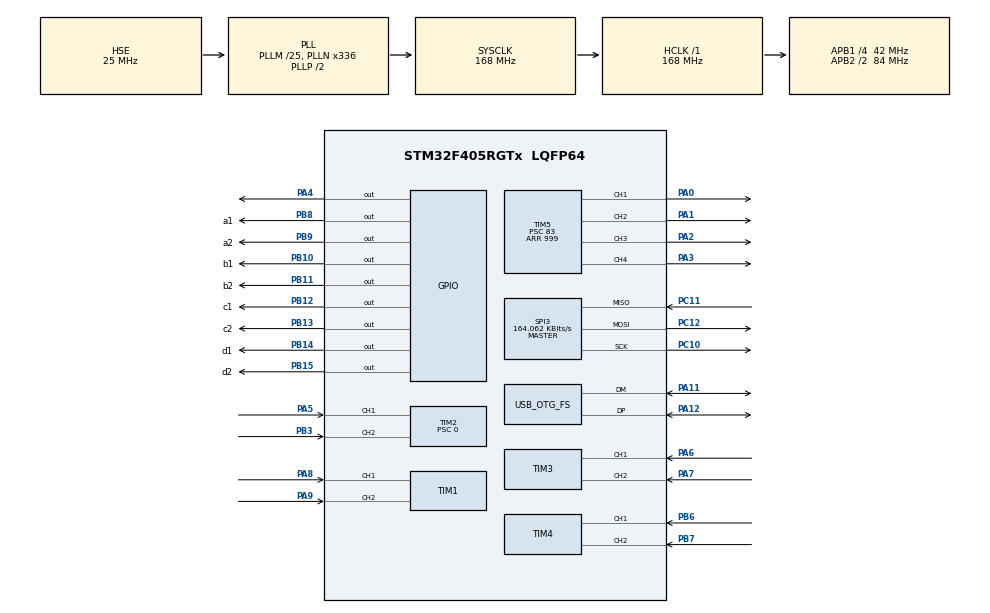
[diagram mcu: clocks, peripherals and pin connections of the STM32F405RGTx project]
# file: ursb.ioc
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FREERTOS.Tasks01=defaultTask,0,128,StartDefaultTask,Default,NULL,Dynamic,NULL,NULL;control,0,128,Task_Control,As weak,NULL,Dynamic,NULL,NULL;pid,0,128,Task_Ser,As weak,NULL,Dynamic,NULL,NULL;ps2,0,128,PS2,As weak,NULL,Dynamic,NULL,NULL;location,0,128,Task_Location,As weak,NULL,Dynamic,NULL,NULL
Mcu.Family=STM32F4
Mcu.Name=STM32F405RGTx
Mcu.Package=LQFP64
NVIC.OTG_FS_IRQn=true\:5\:0\:false\:false\:true\:true\:false\:true\:true
NVIC.PriorityGroup=NVIC_PRIORITYGROUP_4
NVIC.TIM2_IRQn=true\:5\:0\:false\:false\:true\:true\:true\:true\:true
NVIC.TIM6_DAC_IRQn=true\:15\:0\:false\:false\:true\:false\:false\:true\:true
NVIC.TimeBase=TIM6_DAC_IRQn
NVIC.TimeBaseIP=TIM6
PA0-WKUP.Signal=S_TIM5_CH1
PA1.Signal=S_TIM5_CH2
PA11.Mode=Device_Only
PA11.Signal=USB_OTG_FS_DM
PA12.Mode=Device_Only
PA12.Signal=USB_OTG_FS_DP
PA13.Mode=Serial_Wire
PA13.Signal=SYS_JTMS-SWDIO
PA14.Mode=Serial_Wire
PA14.Signal=SYS_JTCK-SWCLK
PA2.Signal=S_TIM5_CH3
PA3.Signal=S_TIM5_CH4
PA4.Signal=GPIO_Output
PA5.Signal=S_TIM2_CH1_ETR
PA6.Signal=S_TIM3_CH1
PA7.Signal=S_TIM3_CH2
PA8.Signal=S_TIM1_CH1
PA9.Signal=S_TIM1_CH2
PB10.GPIO_Label=b1
PB10.Signal=GPIO_Output
PB11.GPIO_Label=b2
PB11.Signal=GPIO_Output
PB12.GPIO_Label=c1
PB12.Signal=GPIO_Output
PB13.GPIO_Label=c2
PB13.Signal=GPIO_Output
PB14.GPIO_Label=d1
PB14.Signal=GPIO_Output
PB15.GPIO_Label=d2
PB15.Signal=GPIO_Output
PB3.Signal=S_TIM2_CH2
PB6.Signal=S_TIM4_CH1
PB7.Signal=S_TIM4_CH2
PB8.GPIO_Label=a1
PB8.Signal=GPIO_Output
PB9.GPIO_Label=a2
PB9.Signal=GPIO_Output
PC10.Mode=Full_Duplex_Master
PC10.Signal=SPI3_SCK
PC11.Mode=Full_Duplex_Master
PC11.Signal=SPI3_MISO
PC12.Mode=Full_Duplex_Master
PC12.Signal=SPI3_MOSI
PH0-OSC_IN.Mode=HSE-External-Oscillator
PH0-OSC_IN.Signal=RCC_OSC_IN
PH1-OSC_OUT.Mode=HSE-External-Oscillator
PH1-OSC_OUT.Signal=RCC_OSC_OUT
ProjectManager.HeapSize=0x200
ProjectManager.StackSize=0x400
ProjectManager.TargetToolchain=MDK-ARM V5.32
RCC.48MHZClocksFreq_Value=48000000
RCC.AHBFreq_Value=168000000
RCC.APB1CLKDivider=RCC_HCLK_DIV4
RCC.APB1Freq_Value=42000000
RCC.APB1TimFreq_Value=84000000
RCC.APB2CLKDivider=RCC_HCLK_DIV2
RCC.APB2Freq_Value=84000000
RCC.APB2TimFreq_Value=168000000
RCC.CortexFreq_Value=168000000
RCC.HCLKFreq_Value=168000000
RCC.HSE_VALUE=25000000
RCC.HSI_VALUE=16000000
RCC.LSE_VALUE=32768
RCC.PLLM=25
RCC.PLLN=336
RCC.PLLQ=7
RCC.SYSCLKFreq_VALUE=168000000
RCC.SYSCLKSource=RCC_SYSCLKSOURCE_PLLCLK
RCC.VCOOutputFreq_Value=336000000
SH.S_TIM1_CH1.0=TIM1_CH1,Encoder_Interface
SH.S_TIM1_CH2.0=TIM1_CH2,Encoder_Interface
SH.S_TIM2_CH1_ETR.0=TIM2_CH1,Encoder_Interface
SH.S_TIM2_CH2.0=TIM2_CH2,Encoder_Interface
SH.S_TIM3_CH1.0=TIM3_CH1,Encoder_Interface
SH.S_TIM3_CH2.0=TIM3_CH2,Encoder_Interface
SH.S_TIM4_CH1.0=TIM4_CH1,Encoder_Interface
SH.S_TIM4_CH2.0=TIM4_CH2,Encoder_Interface
SH.S_TIM5_CH1.0=TIM5_CH1,PWM Generation1 CH1
SH.S_TIM5_CH2.0=TIM5_CH2,PWM Generation2 CH2
SH.S_TIM5_CH3.0=TIM5_CH3,PWM Generation3 CH3
SH.S_TIM5_CH4.0=TIM5_CH4,PWM Generation4 CH4
SPI3.BaudRatePrescaler=SPI_BAUDRATEPRESCALER_256
SPI3.CLKPhase=SPI_PHASE_2EDGE
SPI3.CLKPolarity=SPI_POLARITY_HIGH
SPI3.CalculateBaudRate=164.062 KBits/s
SPI3.Direction=SPI_DIRECTION_2LINES
SPI3.FirstBit=SPI_FIRSTBIT_LSB
SPI3.Mode=SPI_MODE_MASTER
SPI3.VirtualType=VM_MASTER
TIM1.EncoderMode=TIM_ENCODERMODE_TI12
TIM2.EncoderMode=TIM_ENCODERMODE_TI12
TIM2.Period=65535
TIM2.Prescaler=0
TIM3.EncoderMode=TIM_ENCODERMODE_TI12
TIM4.EncoderMode=TIM_ENCODERMODE_TI12
TIM5.Channel-PWM\ Generation1\ CH1=TIM_CHANNEL_1
TIM5.Channel-PWM\ Generation2\ CH2=TIM_CHANNEL_2
TIM5.Channel-PWM\ Generation3\ CH3=TIM_CHANNEL_3
TIM5.Channel-PWM\ Generation4\ CH4=TIM_CHANNEL_4
TIM5.Period=999
TIM5.Prescaler=83
USB_DEVICE.CLASS_NAME_FS=CDC
USB_DEVICE.VirtualMode-CDC_FS=Cdc
USB_DEVICE.VirtualModeFS=Cdc_FS
USB_OTG_FS.VirtualMode=Device_Only
VP_FREERTOS_VS_CMSIS_V1.Mode=CMSIS_V1
VP_SYS_VS_tim6.Mode=TIM6
VP_TIM5_VS_ClockSourceINT.Mode=Internal
VP_USB_DEVICE_VS_USB_DEVICE_CDC_FS.Mode=CDC_FS
board=custom

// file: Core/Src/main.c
/* USER CODE BEGIN Header */
/**
  ******************************************************************************
  * @file           : main.c
  * @brief          : Main program body
  ******************************************************************************
  * @attention
  *
  * Copyright (c) 2026 STMicroelectronics.
  * All rights reserved.
  *
  * This software is licensed under terms that can be found in the LICENSE file
  * in the root directory of this software component.
  * If no LICENSE file comes with this software, it is provided AS-IS.
  *
  ******************************************************************************
  */

/* USER CODE END Header */
#include "main.h"
#include "cmsis_os.h"
#include "usb_device.h"

/* USER CODE BEGIN Includes */
#include "vofa_justfloat.h"
#include "pidmove.h"
#include "ps2.h"
/* USER CODE END Includes */

/* USER CODE BEGIN PTD */
/* 编码器每圈计数值 */
#define ENCODER_CPR

/* 编码器读数&速度环周期 */
#define SAMPLE_TIME        0.010f

#define PIE      3.14f
/* USER CODE END PTD */

/* USER CODE BEGIN PD */

// 编码器相关的全局变量，下标 0~3 对应四个轮子
uint16_t g_last_cnt[4] = {0};               // 上一次读到的编码器计数，用来和本次做差
volatile int16_t g_delta_cnt[4] = {0};      // 10ms 内的计数增量
volatile float g_speed_rpm[4] = {0.0f};     // 轮子实际转速，rpm

uint16_t g_now_cnt[4]={0};                  // 本次读到的编码器计数
uint16_t g_pwm[4]={0};                      // 最终 PWM 比较值
float g_delta_rev[4];                       // 计数增量换算轮子转数

float kp1=2.6f,ki1=0.8f,kd1=0.0f;   // 速度环
float kp2=2.6f,ki2=0.8f,kd2=0.0f;
float kp3=2.6f,ki3=0.8f,kd3=0.0f;
float kp4=2.6f,ki4=0.8f,kd4=0.0f;
float kp5=6.9f,ki5=0.0f,kd5=0.0f;   // 位置环
float kp6=6.9f,ki6=0.0f,kd6=0.0f;

float setx,sety;
float setrpm;
pid_type_def location[2],speed[4];
float g_angle[4];                   // 转角
float send[2]={0};
float g_setspeed[4]={0};            // 目标转速

float vx, vy, vw, k=16.75;

//unsigned char buf[9]={0};

/* USER CODE END PD */

SPI_HandleTypeDef hspi3;

TIM_HandleTypeDef htim1;
TIM_HandleTypeDef htim2;
TIM_HandleTypeDef htim3;
TIM_HandleTypeDef htim4;
TIM_HandleTypeDef htim5;

osThreadId defaultTaskHandle;
osThreadId controlHandle;
osThreadId pidHandle;
osThreadId ps2Handle;
osThreadId locationHandle;

void SystemClock_Config(void);
static void MX_GPIO_Init(void);
static void MX_TIM1_Init(void);
static void MX_TIM2_Init(void);
static void MX_TIM3_Init(void);
static void MX_TIM4_Init(void);
static void MX_TIM5_Init(void);
static void MX_SPI3_Init(void);
void StartDefaultTask(void const * argument);
void Task_Control(void const * argument);
void Task_Ser(void const * argument);
void PS2(void const * argument);
void Task_Location(void const * argument);

/* USER CODE BEGIN PFP */
void Encoder_Init(void)     // 编码器初始化
{
		HAL_TIM_Encoder_Start(&htim1,TIM_CHANNEL_ALL);
		HAL_TIM_Encoder_Start(&htim2,TIM_CHANNEL_ALL);
		HAL_TIM_Encoder_Start(&htim3,TIM_CHANNEL_ALL);
		HAL_TIM_Encoder_Start(&htim4,TIM_CHANNEL_ALL);

    g_last_cnt[0] = (uint16_t)__HAL_TIM_GET_COUNTER(&htim1);
    g_delta_cnt[0] = 0;
    g_speed_rpm[0] = 0.0f;

		g_last_cnt[1] = (uint16_t)__HAL_TIM_GET_COUNTER(&htim2);
    g_delta_cnt[1] = 0;
    g_speed_rpm[1] = 0.0f;

		g_last_cnt[2] = (uint16_t)__HAL_TIM_GET_COUNTER(&htim3);
    g_delta_cnt[2] = 0;
    g_speed_rpm[2] = 0.0f;

		g_last_cnt[3] = (uint16_t)__HAL_TIM_GET_COUNTER(&htim4);
    g_delta_cnt[3] = 0;
    g_speed_rpm[3] = 0.0f;

}

/* USER CODE END PFP */

int main(void)
{

  /* USER CODE BEGIN 1 */

	float speedelement1[3]={kp1,ki1,kd1};
	float speedelement2[3]={kp2,ki2,kd2};
	float speedelement3[3]={kp3,ki3,kd3};
	float speedelement4[3]={kp4,ki4,kd4};
	float locationelement[3]={kp5,ki5,kd5};
	float locationelement1[3]={kp6,ki6,kd6};
  /* USER CODE END 1 */

  /* MCU Configuration--------------------------------------------------------*/

  /* Reset of all peripherals, Initializes the Flash interface and the Systick. */
  HAL_Init();

  /* Configure the system clock */
  SystemClock_Config();

  /* Initialize all configured peripherals */
  MX_GPIO_Init();
  MX_TIM1_Init();
  MX_TIM2_Init();
  MX_TIM3_Init();
  MX_TIM4_Init();
  MX_TIM5_Init();
  MX_SPI3_Init();
  /* USER CODE BEGIN 2 */
	Encoder_Init();                    // 启动 TIM1~TIM4 编码器
	PS2_Init();                        // PS2 手柄初始化（SPI3）

	/* 启动电机 PWM */
	HAL_TIM_PWM_Start(&htim5,TIM_CHANNEL_1);
	HAL_TIM_PWM_Start(&htim5,TIM_CHANNEL_2);
	HAL_TIM_PWM_Start(&htim5,TIM_CHANNEL_3);
	HAL_TIM_PWM_Start(&htim5,TIM_CHANNEL_4);//PWM start

	/* PID 初始化 */
	PID_init_move(&speed[0],PID_POSITION,speedelement1,1000,500);
	PID_init_move(&speed[1],PID_POSITION,speedelement2,1000,500);
	PID_init_move(&speed[2],PID_POSITION,speedelement3,1000,500);
	PID_init_move(&speed[3],PID_POSITION,speedelement4,1000,500);
	PID_init_move(&location[0],PID_POSITION,locationelement,10,0);
	PID_init_move(&location[1],PID_POSITION,locationelement,10,0);

  /* USER CODE END 2 */

  /* Create the thread(s) */
  /* definition and creation of defaultTask */
  osThreadDef(defaultTask, StartDefaultTask, osPriorityNormal, 0, 128);
  defaultTaskHandle = osThreadCreate(osThread(defaultTask), NULL);

  /* definition and creation of control */
  osThreadDef(control, Task_Control, osPriorityNormal, 0, 128);
  controlHandle = osThreadCreate(osThread(control), NULL);

  /* definition and creation of pid */
  osThreadDef(pid, Task_Ser, osPriorityNormal, 0, 128);
  pidHandle = osThreadCreate(osThread(pid), NULL);

  /* definition and creation of ps2 */
  osThreadDef(ps2, PS2, osPriorityNormal, 0, 128);
  ps2Handle = osThreadCreate(osThread(ps2), NULL);

  /* definition and creation of location */
  osThreadDef(location, Task_Location, osPriorityNormal, 0, 128);
  locationHandle = osThreadCreate(osThread(location), NULL);

  /* Start scheduler */
  osKernelStart();

  /* We should never get here as control is now taken by the scheduler */

  /* Infinite loop */
  while (1)
  {

  }
}

void SystemClock_Config(void)
{
  RCC_OscInitTypeDef RCC_OscInitStruct = {0};
  RCC_ClkInitTypeDef RCC_ClkInitStruct = {0};

  /** Configure the main internal regulator output voltage
  */
  __HAL_RCC_PWR_CLK_ENABLE();
  __HAL_PWR_VOLTAGESCALING_CONFIG(PWR_REGULATOR_VOLTAGE_SCALE1);

  /** Initializes the RCC Oscillators according to the specified parameters
  * in the RCC_OscInitTypeDef structure.
  */
  RCC_OscInitStruct.OscillatorType = RCC_OSCILLATORTYPE_HSE;
  RCC_OscInitStruct.HSEState = RCC_HSE_ON;
  RCC_OscInitStruct.PLL.PLLState = RCC_PLL_ON;
  RCC_OscInitStruct.PLL.PLLSource = RCC_PLLSOURCE_HSE;
  RCC_OscInitStruct.PLL.PLLM = 25;
  RCC_OscInitStruct.PLL.PLLN = 336;
  RCC_OscInitStruct.PLL.PLLP = RCC_PLLP_DIV2;
  RCC_OscInitStruct.PLL.PLLQ = 7;
  if (HAL_RCC_OscConfig(&RCC_OscInitStruct) != HAL_OK)
  {
    Error_Handler();
  }

  /** Initializes the CPU, AHB and APB buses clocks
  */
  RCC_ClkInitStruct.ClockType = RCC_CLOCKTYPE_HCLK|RCC_CLOCKTYPE_SYSCLK
                              |RCC_CLOCKTYPE_PCLK1|RCC_CLOCKTYPE_PCLK2;
  RCC_ClkInitStruct.SYSCLKSource = RCC_SYSCLKSOURCE_PLLCLK;
  RCC_ClkInitStruct.AHBCLKDivider = RCC_SYSCLK_DIV1;
  RCC_ClkInitStruct.APB1CLKDivider = RCC_HCLK_DIV4;
  RCC_ClkInitStruct.APB2CLKDivider = RCC_HCLK_DIV2;

  if (HAL_RCC_ClockConfig(&RCC_ClkInitStruct, FLASH_LATENCY_5) != HAL_OK)
  {
    Error_Handler();
  }
}

static void MX_SPI3_Init(void)
{

  hspi3.Instance = SPI3;
  hspi3.Init.Mode = SPI_MODE_MASTER;
  hspi3.Init.Direction = SPI_DIRECTION_2LINES;
  hspi3.Init.DataSize = SPI_DATASIZE_8BIT;
  hspi3.Init.CLKPolarity = SPI_POLARITY_HIGH;
  hspi3.Init.CLKPhase = SPI_PHASE_2EDGE;
  hspi3.Init.NSS = SPI_NSS_SOFT;
  hspi3.Init.BaudRatePrescaler = SPI_BAUDRATEPRESCALER_256;
  hspi3.Init.FirstBit = SPI_FIRSTBIT_LSB;
  hspi3.Init.TIMode = SPI_TIMODE_DISABLE;
  hspi3.Init.CRCCalculation = SPI_CRCCALCULATION_DISABLE;
  hspi3.Init.CRCPolynomial = 10;
  if (HAL_SPI_Init(&hspi3) != HAL_OK)
  {
    Error_Handler();
  }

}

static void MX_TIM1_Init(void)
{

  TIM_Encoder_InitTypeDef sConfig = {0};
  TIM_MasterConfigTypeDef sMasterConfig = {0};

  htim1.Instance = TIM1;
  htim1.Init.Prescaler = 0;
  htim1.Init.CounterMode = TIM_COUNTERMODE_UP;
  htim1.Init.Period = 65535;
  htim1.Init.ClockDivision = TIM_CLOCKDIVISION_DIV1;
  htim1.Init.RepetitionCounter = 0;
  htim1.Init.AutoReloadPreload = TIM_AUTORELOAD_PRELOAD_DISABLE;
  sConfig.EncoderMode = TIM_ENCODERMODE_TI12;
  sConfig.IC1Polarity = TIM_ICPOLARITY_RISING;
  sConfig.IC1Selection = TIM_ICSELECTION_DIRECTTI;
  sConfig.IC1Prescaler = TIM_ICPSC_DIV1;
  sConfig.IC1Filter = 0;
  sConfig.IC2Polarity = TIM_ICPOLARITY_RISING;
  sConfig.IC2Selection = TIM_ICSELECTION_DIRECTTI;
  sConfig.IC2Prescaler = TIM_ICPSC_DIV1;
  sConfig.IC2Filter = 0;
  if (HAL_TIM_Encoder_Init(&htim1, &sConfig) != HAL_OK)
  {
    Error_Handler();
  }
  sMasterConfig.MasterOutputTrigger = TIM_TRGO_RESET;
  sMasterConfig.MasterSlaveMode = TIM_MASTERSLAVEMODE_DISABLE;
  if (HAL_TIMEx_MasterConfigSynchronization(&htim1, &sMasterConfig) != HAL_OK)
  {
    Error_Handler();
  }

}

static void MX_TIM2_Init(void)
{

  TIM_Encoder_InitTypeDef sConfig = {0};
  TIM_MasterConfigTypeDef sMasterConfig = {0};

  htim2.Instance = TIM2;
  htim2.Init.Prescaler = 0;
  htim2.Init.CounterMode = TIM_COUNTERMODE_UP;
  htim2.Init.Period = 65535;
  htim2.Init.ClockDivision = TIM_CLOCKDIVISION_DIV1;
  htim2.Init.AutoReloadPreload = TIM_AUTORELOAD_PRELOAD_DISABLE;
  sConfig.EncoderMode = TIM_ENCODERMODE_TI12;
  sConfig.IC1Polarity = TIM_ICPOLARITY_RISING;
  sConfig.IC1Selection = TIM_ICSELECTION_DIRECTTI;
  sConfig.IC1Prescaler = TIM_ICPSC_DIV1;
  sConfig.IC1Filter = 0;
  sConfig.IC2Polarity = TIM_ICPOLARITY_RISING;
  sConfig.IC2Selection = TIM_ICSELECTION_DIRECTTI;
  sConfig.IC2Prescaler = TIM_ICPSC_DIV1;
  sConfig.IC2Filter = 0;
  if (HAL_TIM_Encoder_Init(&htim2, &sConfig) != HAL_OK)
  {
    Error_Handler();
  }
  sMasterConfig.MasterOutputTrigger = TIM_TRGO_RESET;
  sMasterConfig.MasterSlaveMode = TIM_MASTERSLAVEMODE_DISABLE;
  if (HAL_TIMEx_MasterConfigSynchronization(&htim2, &sMasterConfig) != HAL_OK)
  {
    Error_Handler();
  }

}

static void MX_TIM3_Init(void)
{

  TIM_Encoder_InitTypeDef sConfig = {0};
  TIM_MasterConfigTypeDef sMasterConfig = {0};

  htim3.Instance = TIM3;
  htim3.Init.Prescaler = 0;
  htim3.Init.CounterMode = TIM_COUNTERMODE_UP;
  htim3.Init.Period = 65535;
  htim3.Init.ClockDivision = TIM_CLOCKDIVISION_DIV1;
  htim3.Init.AutoReloadPreload = TIM_AUTORELOAD_PRELOAD_DISABLE;
  sConfig.EncoderMode = TIM_ENCODERMODE_TI12;
  sConfig.IC1Polarity = TIM_ICPOLARITY_RISING;
  sConfig.IC1Selection = TIM_ICSELECTION_DIRECTTI;
  sConfig.IC1Prescaler = TIM_ICPSC_DIV1;
  sConfig.IC1Filter = 0;
  sConfig.IC2Polarity = TIM_ICPOLARITY_RISING;
  sConfig.IC2Selection = TIM_ICSELECTION_DIRECTTI;
  sConfig.IC2Prescaler = TIM_ICPSC_DIV1;
  sConfig.IC2Filter = 0;
  if (HAL_TIM_Encoder_Init(&htim3, &sConfig) != HAL_OK)
  {
    Error_Handler();
  }
  sMasterConfig.MasterOutputTrigger = TIM_TRGO_RESET;
  sMasterConfig.MasterSlaveMode = TIM_MASTERSLAVEMODE_DISABLE;
  if (HAL_TIMEx_MasterConfigSynchronization(&htim3, &sMasterConfig) != HAL_OK)
  {
    Error_Handler();
  }

}

static void MX_TIM4_Init(void)
{

  TIM_Encoder_InitTypeDef sConfig = {0};
  TIM_MasterConfigTypeDef sMasterConfig = {0};

  htim4.Instance = TIM4;
  htim4.Init.Prescaler = 0;
  htim4.Init.CounterMode = TIM_COUNTERMODE_UP;
  htim4.Init.Period = 65535;
  htim4.Init.ClockDivision = TIM_CLOCKDIVISION_DIV1;
  htim4.Init.AutoReloadPreload = TIM_AUTORELOAD_PRELOAD_DISABLE;
  sConfig.EncoderMode = TIM_ENCODERMODE_TI12;
  sConfig.IC1Polarity = TIM_ICPOLARITY_RISING;
  sConfig.IC1Selection = TIM_ICSELECTION_DIRECTTI;
  sConfig.IC1Prescaler = TIM_ICPSC_DIV1;
  sConfig.IC1Filter = 0;
  sConfig.IC2Polarity = TIM_ICPOLARITY_RISING;
  sConfig.IC2Selection = TIM_ICSELECTION_DIRECTTI;
  sConfig.IC2Prescaler = TIM_ICPSC_DIV1;
  sConfig.IC2Filter = 0;
  if (HAL_TIM_Encoder_Init(&htim4, &sConfig) != HAL_OK)
  {
    Error_Handler();
  }
  sMasterConfig.MasterOutputTrigger = TIM_TRGO_RESET;
  sMasterConfig.MasterSlaveMode = TIM_MASTERSLAVEMODE_DISABLE;
  if (HAL_TIMEx_MasterConfigSynchronization(&htim4, &sMasterConfig) != HAL_OK)
  {
    Error_Handler();
  }

}

static void MX_TIM5_Init(void)
{

  TIM_ClockConfigTypeDef sClockSourceConfig = {0};
  TIM_MasterConfigTypeDef sMasterConfig = {0};
  TIM_OC_InitTypeDef sConfigOC = {0};

  htim5.Instance = TIM5;
  htim5.Init.Prescaler = 83;
  htim5.Init.CounterMode = TIM_COUNTERMODE_UP;
  htim5.Init.Period = 999;
  htim5.Init.ClockDivision = TIM_CLOCKDIVISION_DIV1;
  htim5.Init.AutoReloadPreload = TIM_AUTORELOAD_PRELOAD_DISABLE;
  if (HAL_TIM_Base_Init(&htim5) != HAL_OK)
  {
    Error_Handler();
  }
  sClockSourceConfig.ClockSource = TIM_CLOCKSOURCE_INTERNAL;
  if (HAL_TIM_ConfigClockSource(&htim5, &sClockSourceConfig) != HAL_OK)
  {
    Error_Handler();
  }
  if (HAL_TIM_PWM_Init(&htim5) != HAL_OK)
  {
    Error_Handler();
  }
  sMasterConfig.MasterOutputTrigger = TIM_TRGO_RESET;
  sMasterConfig.MasterSlaveMode = TIM_MASTERSLAVEMODE_DISABLE;
  if (HAL_TIMEx_MasterConfigSynchronization(&htim5, &sMasterConfig) != HAL_OK)
  {
    Error_Handler();
  }
  sConfigOC.OCMode = TIM_OCMODE_PWM1;
  sConfigOC.Pulse = 0;
  sConfigOC.OCPolarity = TIM_OCPOLARITY_HIGH;
  sConfigOC.OCFastMode = TIM_OCFAST_DISABLE;
  if (HAL_TIM_PWM_ConfigChannel(&htim5, &sConfigOC, TIM_CHANNEL_1) != HAL_OK)
  {
    Error_Handler();
  }
  if (HAL_TIM_PWM_ConfigChannel(&htim5, &sConfigOC, TIM_CHANNEL_2) != HAL_OK)
  {
    Error_Handler();
  }
  if (HAL_TIM_PWM_ConfigChannel(&htim5, &sConfigOC, TIM_CHANNEL_3) != HAL_OK)
  {
    Error_Handler();
  }
  if (HAL_TIM_PWM_ConfigChannel(&htim5, &sConfigOC, TIM_CHANNEL_4) != HAL_OK)
  {
    Error_Handler();
  }
  HAL_TIM_MspPostInit(&htim5);

}

static void MX_GPIO_Init(void)
{
  GPIO_InitTypeDef GPIO_InitStruct = {0};

  /* GPIO Ports Clock Enable */
  __HAL_RCC_GPIOH_CLK_ENABLE();
  __HAL_RCC_GPIOA_CLK_ENABLE();
  __HAL_RCC_GPIOB_CLK_ENABLE();
  __HAL_RCC_GPIOC_CLK_ENABLE();

  /*Configure GPIO pin Output Level */
  HAL_GPIO_WritePin(GPIOA, GPIO_PIN_4, GPIO_PIN_RESET);

  /*Configure GPIO pin Output Level */
  HAL_GPIO_WritePin(GPIOB, b1_Pin|b2_Pin|c1_Pin|c2_Pin
                          |d1_Pin|d2_Pin|a1_Pin|a2_Pin, GPIO_PIN_RESET);

  /*Configure GPIO pin : PA4 */
  GPIO_InitStruct.Pin = GPIO_PIN_4;
  GPIO_InitStruct.Mode = GPIO_MODE_OUTPUT_PP;
  GPIO_InitStruct.Pull = GPIO_NOPULL;
  GPIO_InitStruct.Speed = GPIO_SPEED_FREQ_LOW;
  HAL_GPIO_Init(GPIOA, &GPIO_InitStruct);

  /*Configure GPIO pins : b1_Pin b2_Pin c1_Pin c2_Pin
                           d1_Pin d2_Pin a1_Pin a2_Pin */
  GPIO_InitStruct.Pin = b1_Pin|b2_Pin|c1_Pin|c2_Pin
                          |d1_Pin|d2_Pin|a1_Pin|a2_Pin;
  GPIO_InitStruct.Mode = GPIO_MODE_OUTPUT_PP;
  GPIO_InitStruct.Pull = GPIO_NOPULL;
  GPIO_InitStruct.Speed = GPIO_SPEED_FREQ_LOW;
  HAL_GPIO_Init(GPIOB, &GPIO_InitStruct);

}

void StartDefaultTask(void const * argument)
{
  /* init code for USB_DEVICE */
  MX_USB_DEVICE_Init();
  for(;;)
  {
    osDelay(1);
  }
}

__weak void Task_Control(void const * argument)
{
  for(;;)
  {
    osDelay(1);
  }
}

__weak void Task_Ser(void const * argument)
{
  for(;;)
  {
    osDelay(1);
  }
}

__weak void PS2(void const * argument)
{
  for(;;)
  {
    osDelay(1);
  }
}

__weak void Task_Location(void const * argument)
{
  for(;;)
  {
    osDelay(1);
  }
}

void HAL_TIM_PeriodElapsedCallback(TIM_HandleTypeDef *htim)
{
  if (htim->Instance == TIM6)
  {
    HAL_IncTick();
  }
}

void Error_Handler(void)
{
  __disable_irq();
  while (1)
  {
  }
}
